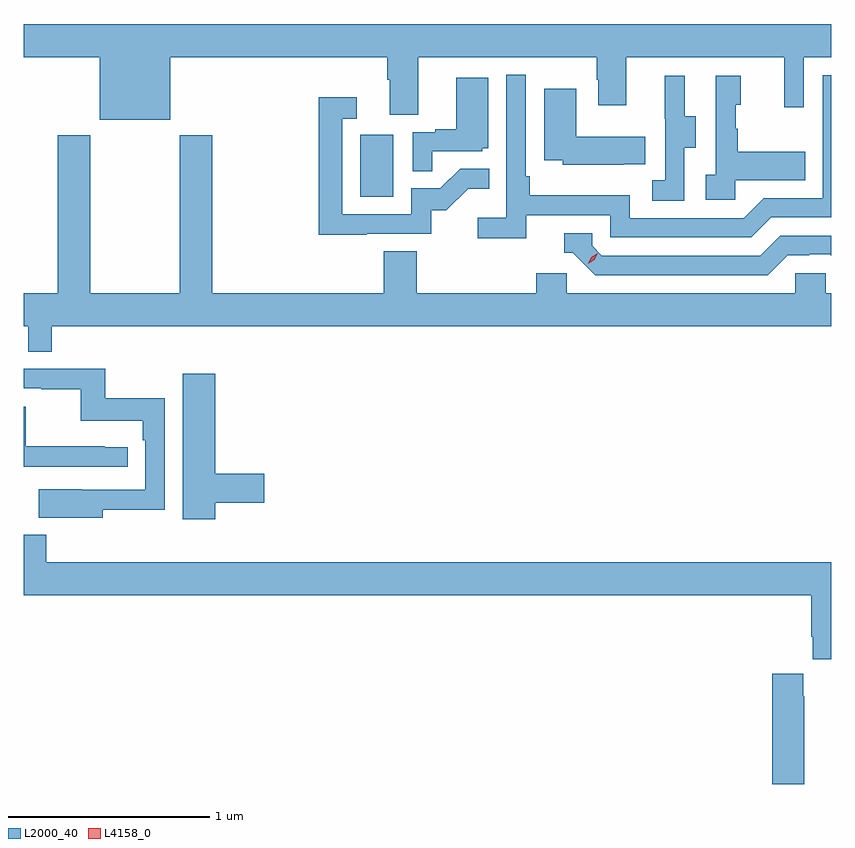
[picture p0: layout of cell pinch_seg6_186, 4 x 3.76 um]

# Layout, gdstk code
import gdstk
lib = gdstk.Library(unit=1e-6, precision=1e-09)
def R(c, l, rs):  # rectangles x0, y0, x1, y1
    for r in rs: c.add(gdstk.rectangle(r[:2], r[2:], *l))
def P(c, l, *ps):  # polygons
    for p in ps: c.add(gdstk.Polygon(p, *l))
L2000_40 = (2000, 40)
L4158_0 = (4158, 0)

pinch_seg6_186 = lib.new_cell('pinch_seg6_186')
R(pinch_seg6_186, L2000_40, [(1034.006,935.988,1034.17,936.295)])
P(pinch_seg6_186, L2000_40, [(1033.066,936.68),(1034.141,936.68),(1034.141,936.568),(1034.153,936.568),(1034.153,936.394),(1034.293,936.394),(1034.293,936.68),(1035.178,936.68),(1035.178,936.569),(1035.185,936.569),(1035.185,936.441),(1035.325,936.441),(1035.325,936.68),(1036.106,936.68),(1036.106,936.432),(1036.203,936.432),(1036.203,936.68),(1036.34,936.68),(1036.34,936.844),(1032.34,936.844),(1032.34,936.68),(1032.716,936.68),(1032.716,936.371),(1033.066,936.371)],
  [(1034.828,935.898),(1035.246,935.898),(1035.246,935.787),(1035.943,935.787),(1036.042,935.886),(1036.34,935.886),(1036.34,936.591),(1036.296,936.591),(1036.296,935.982),(1036.005,935.982),(1035.906,935.883),(1035.342,935.883),(1035.342,935.995),(1034.846,935.995),(1034.846,936.091),(1034.826,936.091),(1034.826,936.592),(1034.73,936.592),(1034.73,935.884),(1034.589,935.884),(1034.589,935.782),(1034.828,935.782)],
  [(1035.612,936.232),(1035.667,936.232),(1035.667,936.387),(1035.613,936.387),(1035.613,936.589),(1035.515,936.589),(1035.515,936.375),(1035.516,936.375),(1035.516,936.071),(1035.453,936.071),(1035.453,935.968),(1035.612,935.968)],
  [(1035.864,936.071),(1036.211,936.071),(1036.211,936.211),(1035.877,936.211),(1035.877,936.326),(1035.867,936.326),(1035.867,936.444),(1035.892,936.444),(1035.892,936.589),(1035.768,936.589),(1035.768,936.098),(1035.717,936.098),(1035.717,935.973),(1035.864,935.973)],
  [(1034.363,936.213),(1034.61,936.213),(1034.61,936.228),(1034.641,936.228),(1034.641,936.577),(1034.483,936.577),(1034.483,936.322),(1034.379,936.322),(1034.379,936.309),(1034.268,936.309),(1034.268,936.115),(1034.363,936.115)],
  [(1035.311,936.149),(1035.419,936.149),(1035.419,936.286),(1035.076,936.286),(1035.076,936.523),(1034.918,936.523),(1034.918,936.17),(1035.009,936.17),(1035.009,936.146),(1035.311,936.146)],
  [(1034.039,935.805),(1034.358,935.805),(1034.358,935.922),(1034.434,935.922),(1034.541,936.029),(1034.645,936.029),(1034.645,936.128),(1034.501,936.128),(1034.403,936.03),(1034.259,936.03),(1034.259,935.901),(1033.917,935.901),(1033.917,936.375),(1033.99,936.375),(1033.99,936.481),(1033.801,936.481),(1033.801,935.8),(1034.039,935.8)],
  [(1032.479,935.348),(1036.34,935.348),(1036.34,935.512),(1036.311,935.512),(1036.311,935.61),(1036.161,935.61),(1036.161,935.512),(1035.03,935.512),(1035.03,935.61),(1034.879,935.61),(1034.879,935.512),(1034.288,935.512),(1034.288,935.72),(1034.123,935.72),(1034.123,935.512),(1033.274,935.512),(1033.274,936.292),(1033.114,936.292),(1033.114,935.512),(1032.669,935.512),(1032.669,936.292),(1032.509,936.292),(1032.509,935.512),(1032.34,935.512),(1032.34,935.348),(1032.363,935.348),(1032.363,935.221),(1032.479,935.221)],
  [(1036.123,935.7),(1036.23,935.7),(1036.23,935.703),(1036.333,935.703),(1036.34,935.696),(1036.34,935.796),(1036.086,935.796),(1035.987,935.697),(1035.204,935.697),(1035.156,935.745),(1035.156,935.808),(1035.017,935.808),(1035.017,935.712),(1035.06,935.712),(1035.171,935.601),(1036.024,935.601)],
  [(1032.733,934.438),(1033.038,934.438),(1033.038,934.99),(1032.745,934.99),(1032.745,935.136),(1032.34,935.136),(1032.34,935.04),(1032.427,935.04),(1032.427,935.035),(1032.624,935.035),(1032.624,934.88),(1032.929,934.88),(1032.929,934.784),(1032.942,934.784),(1032.942,934.539),(1032.629,934.539),(1032.629,934.54),(1032.415,934.54),(1032.415,934.4),(1032.733,934.4)],
  [(1033.288,934.474),(1033.531,934.474),(1033.531,934.616),(1033.288,934.616),(1033.288,935.113),(1033.127,935.113),(1033.127,934.392),(1033.288,934.392)],
  [(1032.856,934.749),(1032.743,934.749),(1032.743,934.754),(1032.35,934.754),(1032.35,934.95),(1032.34,934.95),(1032.34,934.653),(1032.856,934.653)],
  [(1036.34,934.18),(1032.452,934.18),(1032.452,934.315),(1032.34,934.315),(1032.34,934.016),(1036.241,934.016),(1036.241,933.811),(1036.247,933.811),(1036.247,933.699),(1036.34,933.699)],
  [(1036.206,933.515),(1036.201,933.515),(1036.201,933.628),(1036.046,933.628),(1036.046,933.081),(1036.206,933.081)])
P(pinch_seg6_186, L4158_0, [(1035.135,935.657),(1035.135,935.657),(1035.151,935.69),(1035.182,935.709),(1035.182,935.709),(1035.182,935.709),(1035.166,935.676),(1035.135,935.657)])

lib.write_gds('pinch_seg6_186.gds')
